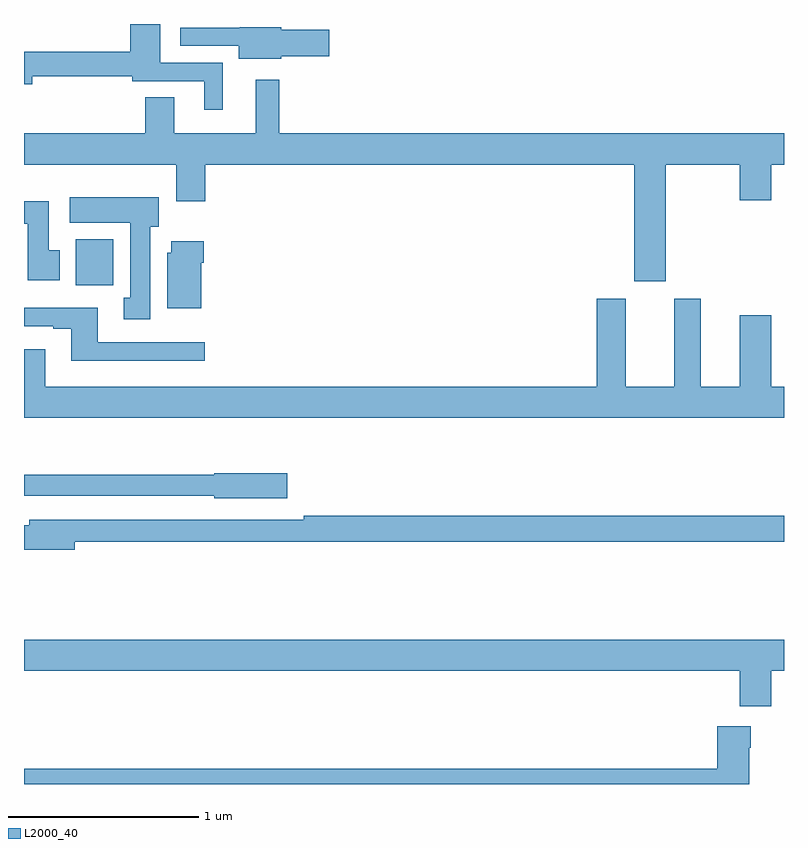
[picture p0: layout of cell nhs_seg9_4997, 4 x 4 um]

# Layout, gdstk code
import gdstk
lib = gdstk.Library(unit=1e-6, precision=1e-09)
def R(c, l, rs):  # rectangles x0, y0, x1, y1
    for r in rs: c.add(gdstk.rectangle(r[:2], r[2:], *l))
def P(c, l, *ps):  # polygons
    for p in ps: c.add(gdstk.Polygon(p, *l))
L2000_40 = (2000, 40)

nhs_seg9_4997 = lib.new_cell('nhs_seg9_4997')
R(nhs_seg9_4997, L2000_40, [(401.273,1189.124,401.47,1189.366)])
P(nhs_seg9_4997, L2000_40, [(402.046,1190.295),(401.716,1190.295),(401.716,1190.5),(401.558,1190.5),(401.558,1190.354),(401,1190.354),(401,1190.183),(401.044,1190.183),(401.044,1190.226),(401.57,1190.226),(401.57,1190.199),(401.948,1190.199),(401.948,1190.049),(402.046,1190.049)],
  [(402.354,1190.329),(402.607,1190.329),(402.607,1190.471),(402.354,1190.471),(402.354,1190.482),(402.135,1190.482),(402.135,1190.481),(401.823,1190.481),(401.823,1190.385),(402.131,1190.385),(402.131,1190.318),(402.354,1190.318)],
  [(404.377,1189.76),(404.768,1189.76),(404.768,1189.572),(404.932,1189.572),(404.932,1189.76),(405,1189.76),(405,1189.924),(402.343,1189.924),(402.343,1190.206),(402.221,1190.206),(402.221,1189.924),(401.791,1189.924),(401.791,1190.114),(401.639,1190.114),(401.639,1189.924),(401,1189.924),(401,1189.76),(401.801,1189.76),(401.801,1189.566),(401.954,1189.566),(401.954,1189.76),(404.213,1189.76),(404.213,1189.146),(404.377,1189.146)],
  [(401.665,1189.434),(401.71,1189.434),(401.71,1189.588),(401.241,1189.588),(401.241,1189.454),(401.558,1189.454),(401.558,1189.058),(401.525,1189.058),(401.525,1188.945),(401.665,1188.945)],
  [(401.188,1189.308),(401.131,1189.308),(401.131,1189.567),(401,1189.567),(401,1189.448),(401.021,1189.448),(401.021,1189.152),(401.188,1189.152)],
  [(401.932,1189.244),(401.945,1189.244),(401.945,1189.357),(401.774,1189.357),(401.774,1189.296),(401.753,1189.296),(401.753,1189.004),(401.932,1189.004)],
  [(405,1188.592),(404.932,1188.592),(404.932,1188.967),(404.768,1188.967),(404.768,1188.592),(404.563,1188.592),(404.563,1189.054),(404.423,1189.054),(404.423,1188.592),(404.167,1188.592),(404.167,1189.054),(404.015,1189.054),(404.015,1188.592),(401.113,1188.592),(401.113,1188.787),(401,1188.787),(401,1188.428),(405,1188.428)],
  [(401.95,1188.825),(401.389,1188.825),(401.389,1189.006),(401,1189.006),(401,1188.909),(401.153,1188.909),(401.153,1188.897),(401.249,1188.897),(401.249,1188.728),(401.95,1188.728)],
  [(402.385,1188.135),(402,1188.135),(402,1188.127),(401,1188.127),(401,1188.018),(402,1188.018),(402,1188.005),(402.385,1188.005)],
  [(401.266,1187.776),(405,1187.776),(405,1187.912),(402.472,1187.912),(402.472,1187.892),(401.027,1187.892),(401.027,1187.863),(401,1187.863),(401,1187.734),(401.266,1187.734)],
  [(404.932,1187.096),(405,1187.096),(405,1187.26),(401,1187.26),(401,1187.096),(404.768,1187.096),(404.768,1186.908),(404.932,1186.908)],
  [(404.818,1186.691),(404.826,1186.691),(404.826,1186.804),(404.648,1186.804),(404.648,1186.58),(401,1186.58),(401,1186.5),(404.818,1186.5)])

lib.write_gds('nhs_seg9_4997.gds')
